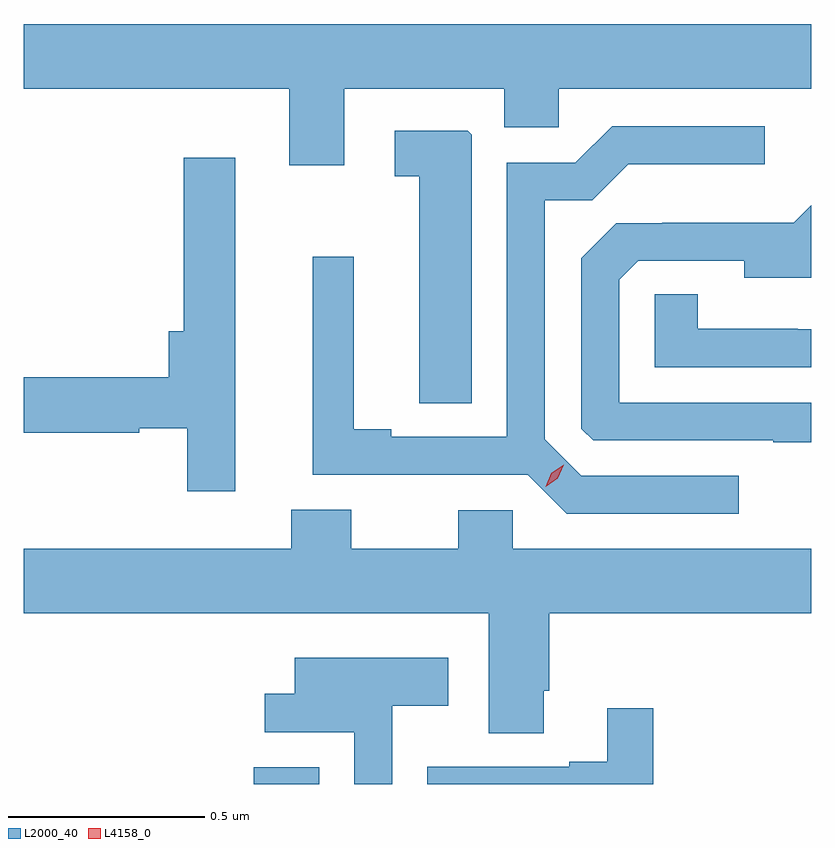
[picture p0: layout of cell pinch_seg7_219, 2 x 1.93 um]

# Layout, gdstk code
import gdstk
lib = gdstk.Library(unit=1e-6, precision=1e-09)
def R(c, l, rs):  # rectangles x0, y0, x1, y1
    for r in rs: c.add(gdstk.rectangle(r[:2], r[2:], *l))
def P(c, l, *ps):  # polygons
    for p in ps: c.add(gdstk.Polygon(p, *l))
L2000_40 = (2000, 40)
L4158_0 = (4158, 0)

pinch_seg7_219 = lib.new_cell('pinch_seg7_219')
R(pinch_seg7_219, L2000_40, [(654.41,1006.843,654.577,1006.885)])
P(pinch_seg7_219, L2000_40, [(654.64,1008.608),(655.046,1008.608),(655.046,1008.51),(655.185,1008.51),(655.185,1008.608),(655.826,1008.608),(655.826,1008.772),(653.826,1008.772),(653.826,1008.608),(654.5,1008.608),(654.5,1008.414),(654.64,1008.414)],
  [(655.642,1007.625),(655.242,1007.625),(655.149,1007.718),(655.149,1008.325),(655.27,1008.325),(655.361,1008.416),(655.708,1008.416),(655.708,1008.513),(655.32,1008.513),(655.227,1008.42),(655.053,1008.42),(655.053,1007.724),(654.76,1007.724),(654.76,1007.744),(654.664,1007.744),(654.664,1008.181),(654.56,1008.181),(654.56,1007.628),(655.106,1007.628),(655.205,1007.529),(655.642,1007.529)],
  [(654.964,1008.491),(654.954,1008.501),(654.768,1008.501),(654.768,1008.385),(654.83,1008.385),(654.83,1007.809),(654.964,1007.809)],
  [(654.364,1008.433),(654.233,1008.433),(654.233,1007.992),(654.194,1007.992),(654.194,1007.876),(653.826,1007.876),(653.826,1007.734),(654.12,1007.734),(654.12,1007.746),(654.242,1007.746),(654.242,1007.586),(654.364,1007.586)],
  [(655.826,1007.811),(655.338,1007.811),(655.338,1008.123),(655.386,1008.171),(655.655,1008.171),(655.655,1008.128),(655.826,1008.128),(655.826,1008.312),(655.781,1008.268),(655.447,1008.268),(655.447,1008.266),(655.331,1008.266),(655.242,1008.177),(655.242,1007.745),(655.272,1007.715),(655.729,1007.715),(655.729,1007.71),(655.826,1007.71)],
  [(655.826,1007.997),(655.791,1007.997),(655.791,1007.998),(655.537,1007.998),(655.537,1008.086),(655.428,1008.086),(655.428,1007.901),(655.826,1007.901)],
  [(655.147,1007.08),(655.16,1007.08),(655.16,1007.276),(655.826,1007.276),(655.826,1007.44),(655.068,1007.44),(655.068,1007.538),(654.929,1007.538),(654.929,1007.44),(654.658,1007.44),(654.658,1007.539),(654.506,1007.539),(654.506,1007.44),(653.826,1007.44),(653.826,1007.276),(655.007,1007.276),(655.007,1006.972),(655.147,1006.972)],
  [(654.762,1007.042),(654.904,1007.042),(654.904,1007.164),(654.515,1007.164),(654.515,1007.072),(654.438,1007.072),(654.438,1006.974),(654.666,1006.974),(654.666,1006.843),(654.762,1006.843)],
  [(655.424,1007.035),(655.307,1007.035),(655.307,1006.9),(655.211,1006.9),(655.211,1006.887),(654.851,1006.887),(654.851,1006.843),(655.424,1006.843)])
P(pinch_seg7_219, L4158_0, [(655.151,1007.598),(655.151,1007.598),(655.166,1007.632),(655.197,1007.653),(655.197,1007.653),(655.197,1007.653),(655.182,1007.619),(655.151,1007.598)])

lib.write_gds('pinch_seg7_219.gds')
